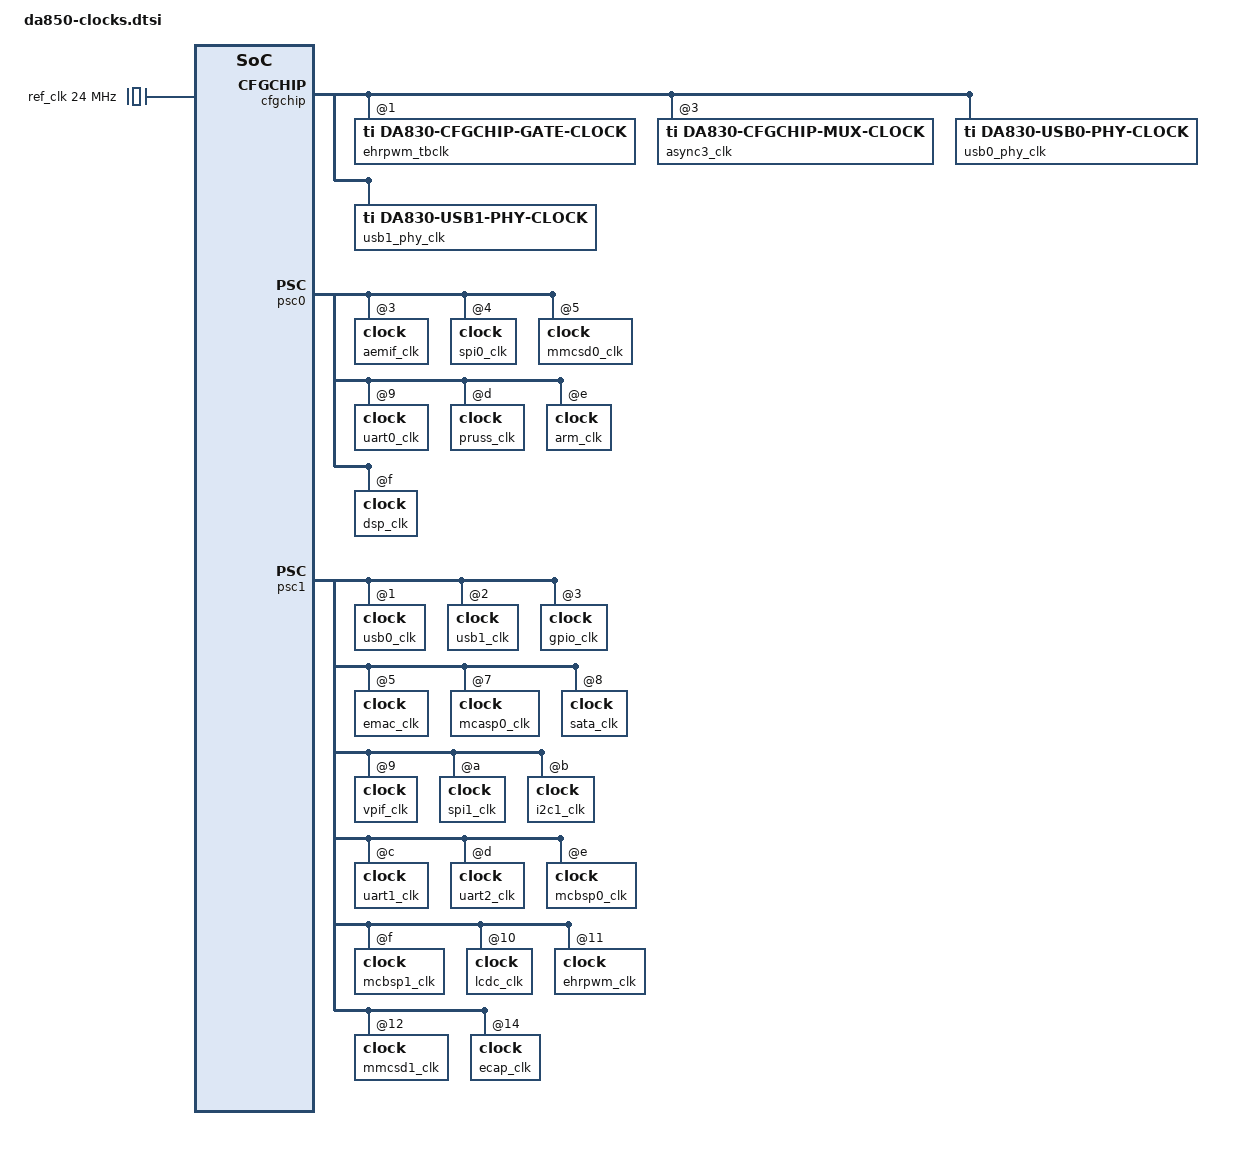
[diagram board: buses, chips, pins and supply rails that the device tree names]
// SPDX-License-Identifier: GPL-2.0
/*
 * TI DA8XX/OMAP-L17X/OMAP-L18X/AM17XX/AM18XX Clocks Device Tree
 *
 * Copyright (C) 2017 David Lechner <david@lechnology.com>
 */

&clocks {
	ref_clk: ref_clk {
		#clock-cells = <0>;
		compatible = "fixed-clock";
		clock-frequency = <24000000>;
		clock-output-names = "ref_clk";
	};

	sata_refclk: sata_refclk {
		#clock-cells = <0>;
		compatible = "fixed-clock";
		clock-frequency = <100000000>;
		clock-output-names = "sata_refclk";
		status = "disabled";
	};

	usb_refclkin: usb_refclkin {
		#clock-cells = <0>;
		compatible = "fixed-clock";
		clock-frequency = <48000000>;
		clock-output-names = "usb_refclkin";
		status = "disabled";
	};

	i2c0_clk: i2c0 {
		#clock-cells = <0>;
		compatible = "fixed-factor-clock";
		clock-div = <1>;
		clock-mult = <1>;
		clocks = <&pll0_aux_clk>;
		clock-output-names = "i2c0";
	};

	timer0_clk: timer0 {
		#clock-cells = <0>;
		compatible = "fixed-factor-clock";
		clock-div = <1>;
		clock-mult = <1>;
		clocks = <&pll0_aux_clk>;
		clock-output-names = "timer0";
	};

	timer1_clk: timer1 {
		#clock-cells = <0>;
		compatible = "fixed-factor-clock";
		clock-div = <1>;
		clock-mult = <1>;
		clocks = <&pll0_aux_clk>;
		clock-output-names = "timer1";
	};

	rmii_clk: rmii {
		#clock-cells = <0>;
		compatible = "fixed-factor-clock";
		clock-div = <1>;
		clock-mult = <1>;
		clocks = <&pll0_sysclk 7>;
		clock-output-names = "rmii";
	};
};

&cfgchip {
	ehrpwm_tbclk: tbclk {
		#clock-cells = <0>;
		compatible = "ti,da830-cfgchip-gate-clock";
		reg = <1>; /* CFGCHIP1 */
		bit = <12>;
		clocks = <&ehrpwm_clk>;
		clock-output-names = "ehrpwm_tbclk";
	};

	async3_clk: async3 {
		#clock-cells = <0>;
		compatible = "ti,da830-cfgchip-mux-clock";
		reg = <3>; /* CFGCHIP3 */
		bit-shift = <4>;
		bit-mask = <0x1>;
		clocks = <&pll0_sysclk 2>, <&pll1_sysclk 2>;
		clock-values = <0x0>, <0x1>;
		clock-output-names = "async3";
	};

	usb0_phy_clk: usb0-phy-clock {
		#clock-cells = <0>;
		compatible = "ti,da830-usb0-phy-clock";
		clocks = <&usb_refclkin>, <&pll0_aux_clk>;
		usb0-psc-clocks = <&usb0_clk>;
		clock-output-names = "usb0_phy_clk";
	};

	usb1_phy_clk: usb1-phy-clock {
		#clock-cells = <0>;
		compatible = "ti,da830-usb1-phy-clock";
		clocks = <&usb0_phy_clk>, <&usb_refclkin>;
		clock-output-names = "usb1_phy_clk";
	};
};

&pll0 {
	pll0_sysclk: main {
		#clock-cells = <1>;
		compatible = "ti,davinci-pll-main";
		clocks = <&ref_clk>, <&pll1_sysclk 3>;
		clock-indices = <1>, <2>, <3>, <4>, <5>, <6>, <7>;
		clock-output-names = "pll0_sysclk1",
				     "pll0_sysclk2",
				     "pll0_sysclk3",
				     "pll0_sysclk4",
				     "pll0_sysclk5",
				     "pll0_sysclk6",
				     "pll0_sysclk7";
	};

	pll0_aux_clk: aux {
		#clock-cells = <0>;
		compatible = "ti-davinci-pll-aux";
		clocks = <&ref_clk>;
		clock-output-names = "pll0_aux_clk";
	};
};

&pll1 {
	pll1_sysclk: main {
		#clock-cells = <1>;
		compatible = "ti,davinci-pll-main";
		clocks = <&ref_clk &ref_clk>;
		clock-indices = <1>, <2>, <3>;
		clock-output-names = "pll1_sysclk1",
				     "pll1_sysclk2",
				     "pll1_sysclk3";
	};

	pll1_aux_clk: aux {
		#clock-cells = <0>;
		compatible = "ti-davinci-pll-aux";
		clocks = <&ref_clk>;
		clock-output-names = "pll1_aux_clk";
	};
};

&psc0 {
	#address-cells = <1>;
	#size-cells = <0>;

	tpcc0_clk: clock@0 {
		status = "disabled";
		#clock-cells = <0>;
		reg = <0>;
		clocks = <&pll0_sysclk 2>;
		clock-output-names = "tpcc0";
	};

	tptc0_clk: clock@1 {
		status = "disabled";
		#clock-cells = <0>;
		reg = <1>;
		clocks = <&pll0_sysclk 2>;
		clock-output-names = "tptc0";
	};

	tptc1_clk: clock@2 {
		status = "disabled";
		#clock-cells = <0>;
		reg = <2>;
		clocks = <&pll0_sysclk 2>;
		clock-output-names = "tptc1";
	};

	aemif_clk: clock@3 {
		#clock-cells = <0>;
		reg = <3>;
		clocks = <&pll0_sysclk 3>;
		clock-output-names = "aemif";
	};

	spi0_clk: clock@4 {
		#clock-cells = <0>;
		reg = <4>;
		clocks = <&pll0_sysclk 2>;
		clock-output-names = "spi0";
	};

	mmcsd0_clk: clock@5 {
		#clock-cells = <0>;
		reg = <5>;
		clocks = <&pll0_sysclk 2>;
		clock-output-names = "mmcsd0";
	};

	aintc_clk: clock@6 {
		status = "disabled";
		#clock-cells = <0>;
		reg = <6>;
		clocks = <&pll0_sysclk 4>;
		clock-output-names = "aintc";
	};

	arm_rom_clk: clock@7 {
		status = "disabled";
		#clock-cells = <0>;
		reg = <7>;
		clocks = <&pll0_sysclk 2>;
		clock-output-names = "arm_rom";
	};

	uart0_clk: clock@9 {
		#clock-cells = <0>;
		reg = <9>;
		clocks = <&pll0_sysclk 2>;
		clock-output-names = "uart0";
	};

	pruss_clk: clock@13 {
		#clock-cells = <0>;
		reg = <13>;
		clocks = <&pll0_sysclk 2>;
		clock-output-names = "pruss";
	};

	arm_clk: clock@14 {
		#clock-cells = <0>;
		#reset-cells = <0>;
		reg = <14>;
		clocks = <&pll0_sysclk 6>;
		clock-output-names = "arm";
	};

	dsp_clk: clock@15 {
		#clock-cells = <0>;
		#reset-cells = <0>;
		reg = <15>;
		clocks = <&pll0_sysclk 1>;
		clock-output-names = "dsp";
		power-domain = <1>;
	};
};

&psc1 {
	#address-cells = <1>;
	#size-cells = <0>;

	tpcc1_clk: clock@0 {
		#clock-cells = <0>;
		reg = <0>;
		clocks = <&pll0_sysclk 2>;
		clock-output-names = "tpcc1";
		status = "disabled";
	};

	usb0_clk: clock@1 {
		#clock-cells = <0>;
		reg = <1>;
		clocks = <&pll0_sysclk 2>;
		clock-output-names = "usb0";
	};

	usb1_clk: clock@2 {
		#clock-cells = <0>;
		reg = <2>;
		clocks = <&pll0_sysclk 4>;
		clock-output-names = "usb1";
	};

	gpio_clk: clock@3 {
		#clock-cells = <0>;
		reg = <3>;
		clocks = <&pll0_sysclk 4>;
		clock-output-names = "gpio";
	};

	emac_clk: clock@5 {
		#clock-cells = <0>;
		reg = <5>;
		clocks = <&pll0_sysclk 4>;
		clock-output-names = "emac";
	};

	emif3_clk: clock@6 {
		status = "disabled";
		#clock-cells = <0>;
		reg = <6>;
		clocks = <&pll0_sysclk 5>;
		clock-output-names = "emif3";
	};

	mcasp0_clk: clock@7 {
		#clock-cells = <0>;
		reg = <7>;
		clocks = <&async3_clk>;
		clock-output-names = "mcasp";
	};

	sata_clk: clock@8 {
		#clock-cells = <0>;
		reg = <8>;
		clocks = <&pll0_sysclk 2>;
		clock-output-names = "sata";
	};

	vpif_clk: clock@9 {
		#clock-cells = <0>;
		reg = <9>;
		clocks = <&pll0_sysclk 2>;
		clock-output-names = "vpif";
	};

	spi1_clk: clock@10 {
		#clock-cells = <0>;
		reg = <10>;
		clocks = <&async3_clk>;
		clock-output-names = "spi1";
	};

	i2c1_clk: clock@11 {
		#clock-cells = <0>;
		reg = <11>;
		clocks = <&pll0_sysclk 4>;
		clock-output-names = "i2c1";
	};

	uart1_clk: clock@12 {
		#clock-cells = <0>;
		reg = <12>;
		clocks = <&async3_clk>;
		clock-output-names = "uart1";
	};

	uart2_clk: clock@13 {
		#clock-cells = <0>;
		reg = <13>;
		clocks = <&async3_clk>;
		clock-output-names = "uart2";
	};

	mcbsp0_clk: clock@14 {
		#clock-cells = <0>;
		reg = <14>;
		clocks = <&async3_clk>;
		clock-output-names = "mcbsp0";
	};

	mcbsp1_clk: clock@15 {
		#clock-cells = <0>;
		reg = <15>;
		clocks = <&async3_clk>;
		clock-output-names = "mcbsp1";
	};

	lcdc_clk: clock@16 {
		#clock-cells = <0>;
		reg = <16>;
		clocks = <&pll0_sysclk 2>;
		clock-output-names = "lcdc";
	};

	ehrpwm_clk: clock@17 {
		#clock-cells = <0>;
		reg = <17>;
		clocks = <&async3_clk>;
		clock-output-names = "ehrpwm";
	};

	mmcsd1_clk: clock@18 {
		#clock-cells = <0>;
		reg = <18>;
		clocks = <&pll0_sysclk 2>;
		clock-output-names = "mmcsd1";
	};

	ecap_clk: clock@20 {
		#clock-cells = <0>;
		reg = <20>;
		clocks = <&async3_clk>;
		clock-output-names = "ecap";
	};

	tptc2_clk: clock@21 {
		status = "disabled";
		#clock-cells = <0>;
		reg = <21>;
		clocks = <&pll0_sysclk 2>;
		clock-output-names = "tptc2";
	};
};
